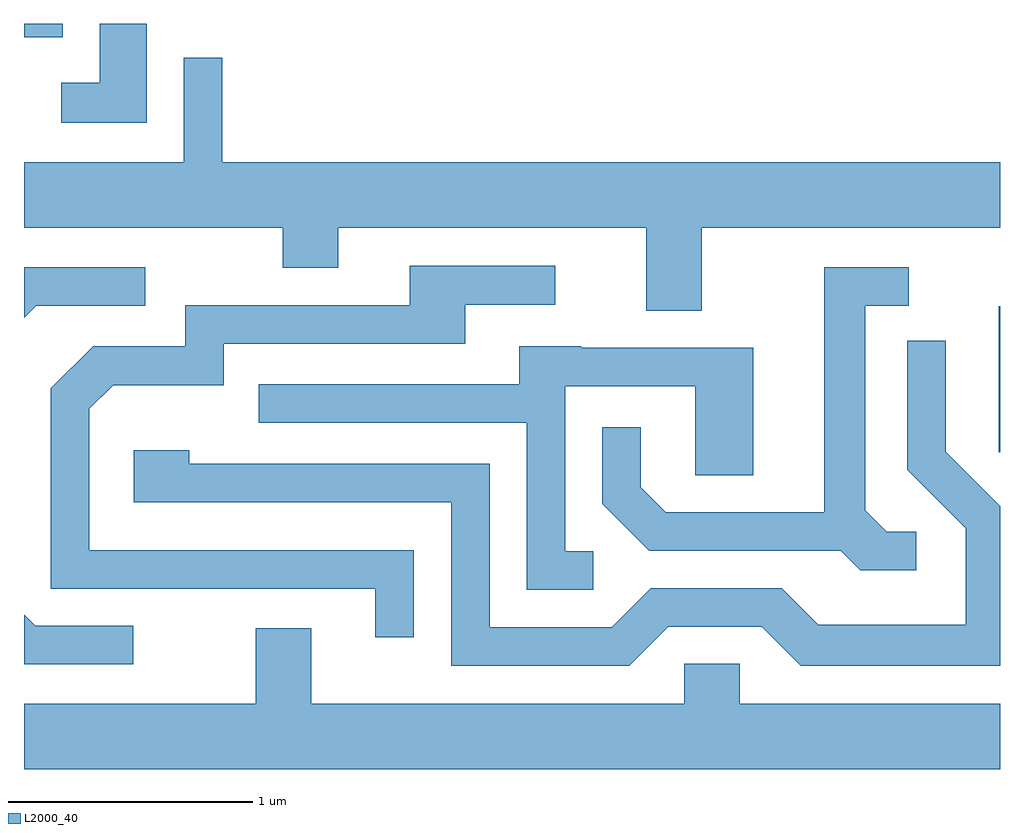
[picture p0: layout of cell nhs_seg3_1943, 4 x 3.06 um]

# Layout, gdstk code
import gdstk
lib = gdstk.Library(unit=1e-6, precision=1e-09)
def R(c, l, rs):  # rectangles x0, y0, x1, y1
    for r in rs: c.add(gdstk.rectangle(r[:2], r[2:], *l))
def P(c, l, *ps):  # polygons
    for p in ps: c.add(gdstk.Polygon(p, *l))
L2000_40 = (2000, 40)

nhs_seg3_1943 = lib.new_cell('nhs_seg3_1943')
R(nhs_seg3_1943, L2000_40, [(245.606,1196.136,245.611,1196.734), (241.611,1197.836,241.769,1197.892)])
P(nhs_seg3_1943, L2000_40, [(242.114,1197.892),(241.921,1197.892),(241.921,1197.649),(241.763,1197.649),(241.763,1197.486),(242.114,1197.486)],
  [(244.389,1197.056),(245.611,1197.056),(245.611,1197.324),(242.424,1197.324),(242.424,1197.753),(242.266,1197.753),(242.266,1197.324),(241.611,1197.324),(241.611,1197.056),(242.671,1197.056),(242.671,1196.891),(242.899,1196.891),(242.899,1197.056),(244.161,1197.056),(244.161,1196.716),(244.389,1196.716)],
  [(243.209,1195.734),(241.879,1195.734),(241.879,1196.314),(241.977,1196.411),(242.429,1196.411),(242.429,1196.581),(243.419,1196.581),(243.419,1196.741),(243.788,1196.741),(243.788,1196.899),(243.191,1196.899),(243.191,1196.739),(242.271,1196.739),(242.271,1196.569),(241.894,1196.569),(241.721,1196.397),(241.721,1195.576),(243.051,1195.576),(243.051,1195.378),(243.209,1195.378)],
  [(241.662,1196.736),(242.108,1196.736),(242.108,1196.894),(241.611,1196.894),(241.611,1196.686)],
  [(245.268,1195.809),(245.147,1195.809),(245.059,1195.897),(245.059,1196.736),(245.238,1196.736),(245.238,1196.894),(244.891,1196.894),(244.891,1195.889),(244.242,1195.889),(244.139,1195.992),(244.139,1196.238),(243.981,1196.238),(243.981,1195.924),(244.174,1195.731),(244.959,1195.731),(245.039,1195.651),(245.268,1195.651)],
  [(244.252,1195.421),(244.634,1195.421),(244.794,1195.261),(245.611,1195.261),(245.611,1195.915),(245.389,1196.137),(245.389,1196.593),(245.231,1196.593),(245.231,1196.064),(245.471,1195.824),(245.471,1195.429),(244.867,1195.429),(244.717,1195.579),(244.179,1195.579),(244.019,1195.419),(243.519,1195.419),(243.519,1196.089),(242.289,1196.089),(242.289,1196.144),(242.061,1196.144),(242.061,1195.931),(243.361,1195.931),(243.361,1195.261),(244.092,1195.261)],
  [(243.943,1195.729),(243.829,1195.729),(243.829,1196.406),(244.361,1196.406),(244.361,1196.041),(244.599,1196.041),(244.599,1196.564),(243.895,1196.564),(243.895,1196.569),(243.641,1196.569),(243.641,1196.414),(242.573,1196.414),(242.573,1196.256),(243.671,1196.256),(243.671,1195.571),(243.943,1195.571)],
  [(242.058,1195.424),(241.657,1195.424),(241.611,1195.47),(241.611,1195.266),(242.058,1195.266)],
  [(245.611,1195.104),(244.544,1195.104),(244.544,1195.269),(244.316,1195.269),(244.316,1195.104),(242.789,1195.104),(242.789,1195.414),(242.561,1195.414),(242.561,1195.104),(241.611,1195.104),(241.611,1194.836),(245.611,1194.836)])

lib.write_gds('nhs_seg3_1943.gds')
